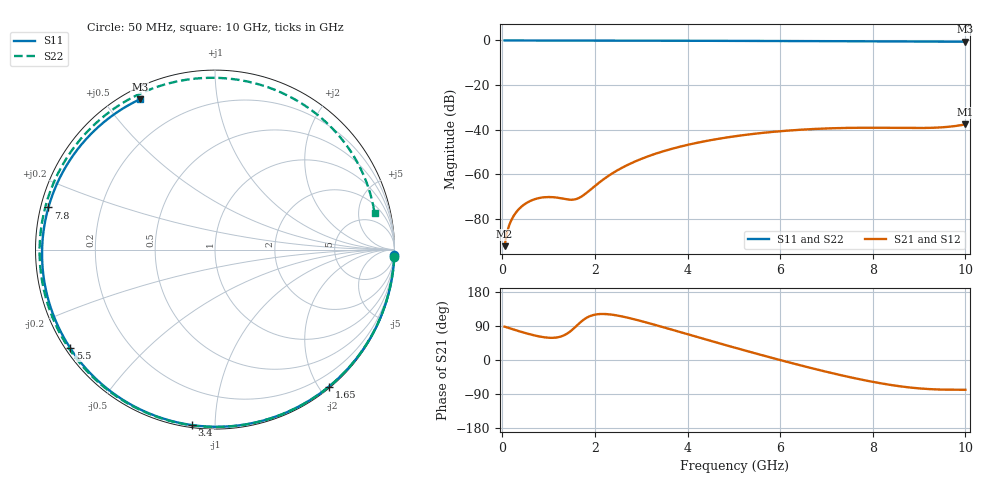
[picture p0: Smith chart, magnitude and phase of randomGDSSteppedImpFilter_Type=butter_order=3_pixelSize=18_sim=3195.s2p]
! freq	dB(S11)	phase(S11)	dB(S12)	phase(S12)
!  dB(S21)	phase(S21)	dB(S22)	phase(S22)
!S-par simulation data
#  GHz  S  DB  R 50
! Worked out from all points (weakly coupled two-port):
!   200 points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, 50 MHz to 10 GHz, reference 50 ohm
!   highest |S21| = -37.67 dB at 10 GHz (marker M1); lowest = -92.3 dB at 50 MHz (marker M2)
!   lowest |S11| = -0.6 dB at 10 GHz (marker M3), VSWR 30.33, Z = 2.28 + j30.8 ohm
!   |S11| at or under -10 dB: nowhere
!   |S22| runs from -0.8 to 0.0 dB; largest |S21 - S12| = 0
!   S11 on the Smith chart (normalised r, x): 50 MHz: 0, -72; 1.65 GHz: 0.02, -2.13; 3.4 GHz: 0.01, -0.88; 5.5 GHz: 0.01, -0.31; 7.8 GHz: 0.02, +0.12; 10 GHz: 0.05, +0.62
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0.05  -0.00 -1.6  -92.34 88.0  -92.34 88.0  -0.00 -2.5
0.2  -0.01 -6.3  -80.44 82.2  -80.44 82.2  -0.01 -9.8
0.45  -0.02 -14.1  -74.00 72.8  -74.00 72.8  -0.03 -21.9
0.75  -0.03 -23.3  -70.96 63.4  -70.96 63.4  -0.05 -36.2
1.2  -0.05 -37.0  -70.61 60.0  -70.61 60.0  -0.07 -56.8
1.5  -0.06 -45.9  -71.51 78.7  -71.51 78.7  -0.08 -69.8
1.65  -0.06 -50.3  -70.76 95.5  -70.76 95.5  -0.09 -76.1
1.75  -0.07 -53.2  -69.52 105.8  -69.52 105.8  -0.09 -80.2
2.5  -0.09 -74.1  -58.13 117.0  -58.13 117.0  -0.12 -108.9
3.4  -0.12 -97.5  -50.23 89.2  -50.23 89.2  -0.15 -139.2
4.2  -0.15 -116.7  -45.96 61.0  -45.96 61.0  -0.17 -163.4
5.05  -0.19 -135.9  -42.93 31.5  -42.93 31.5  -0.21 172.4
5.5  -0.22 -145.7  -41.76 16.3  -41.76 16.3  -0.23 159.9
6.1  -0.25 -158.5  -40.58 -3.4  -40.58 -3.4  -0.26 143.1
6.7  -0.29 -171.1  -39.77 -22.2  -39.77 -22.2  -0.30 126.0
7.25  -0.33 177.4  -39.34 -38.3  -39.34 -38.3  -0.33 109.9
7.8  -0.38 165.8  -39.18 -52.9  -39.18 -52.9  -0.37 93.0
8.35  -0.43 154.0  -39.22 -65.1  -39.22 -65.1  -0.42 75.3
8.8  -0.47 144.1  -39.30 -72.5  -39.30 -72.5  -0.48 60.0
9.2  -0.50 135.2  -39.25 -76.7  -39.25 -76.7  -0.54 45.5
9.65  -0.54 124.8  -38.73 -78.4  -38.73 -78.4  -0.66 27.9
10  -0.57 116.6  -37.67 -78.6  -37.67 -78.6  -0.80 12.9
